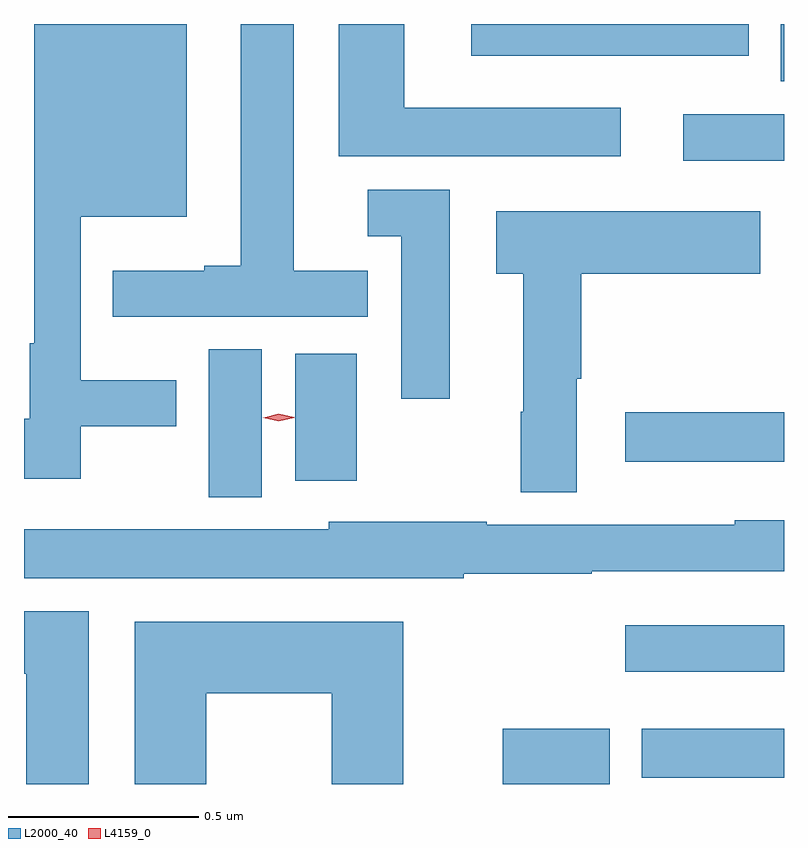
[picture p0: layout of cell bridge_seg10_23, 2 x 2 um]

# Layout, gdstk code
import gdstk
lib = gdstk.Library(unit=1e-6, precision=1e-09)
def R(c, l, rs):  # rectangles x0, y0, x1, y1
    for r in rs: c.add(gdstk.rectangle(r[:2], r[2:], *l))
def P(c, l, *ps):  # polygons
    for p in ps: c.add(gdstk.Polygon(p, *l))
L2000_40 = (2000, 40)
L4159_0 = (4159, 0)

bridge_seg10_23 = lib.new_cell('bridge_seg10_23')
R(bridge_seg10_23, L2000_40, [(1011.398,1280.988,1011.679,1281.133), (1011.764,1281.005,1012.138,1281.133), (1011.72,1281.284,1012.138,1281.406), (1010.624,1281.743,1010.764,1282.132), (1010.852,1281.786,1011.013,1282.12), (1011.72,1281.836,1012.138,1281.966), (1011.873,1282.628,1012.138,1282.75), (1012.13,1282.838,1012.138,1282.988), (1011.315,1282.904,1012.045,1282.988)])
P(bridge_seg10_23, L2000_40, [(1011.043,1282.339),(1010.848,1282.339),(1010.848,1282.988),(1010.708,1282.988),(1010.708,1282.352),(1010.612,1282.352),(1010.612,1282.339),(1010.372,1282.339),(1010.372,1282.217),(1011.043,1282.217)],
  [(1011.709,1282.768),(1011.139,1282.768),(1011.139,1282.988),(1010.966,1282.988),(1010.966,1282.64),(1011.709,1282.64)],
  [(1011.259,1282.552),(1011.042,1282.552),(1011.042,1282.43),(1011.131,1282.43),(1011.131,1282.002),(1011.259,1282.002)],
  [(1011.592,1282.054),(1011.605,1282.054),(1011.605,1282.331),(1012.075,1282.331),(1012.075,1282.495),(1011.381,1282.495),(1011.381,1282.331),(1011.452,1282.331),(1011.452,1281.968),(1011.445,1281.968),(1011.445,1281.756),(1011.592,1281.756)],
  [(1010.287,1282.481),(1010.566,1282.481),(1010.566,1282.988),(1010.165,1282.988),(1010.165,1282.148),(1010.153,1282.148),(1010.153,1281.949),(1010.138,1281.949),(1010.138,1281.791),(1010.287,1281.791),(1010.287,1281.929),(1010.539,1281.929),(1010.539,1282.051),(1010.287,1282.051)],
  [(1011.295,1281.541),(1011.632,1281.541),(1011.632,1281.548),(1012.138,1281.548),(1012.138,1281.682),(1012.008,1281.682),(1012.008,1281.67),(1011.356,1281.67),(1011.356,1281.678),(1010.94,1281.678),(1010.94,1281.658),(1010.138,1281.658),(1010.138,1281.53),(1011.295,1281.53)],
  [(1010.308,1281.442),(1010.138,1281.442),(1010.138,1281.278),(1010.144,1281.278),(1010.144,1280.988),(1010.308,1280.988)],
  [(1010.617,1281.227),(1010.948,1281.227),(1010.948,1280.988),(1011.136,1280.988),(1011.136,1281.415),(1010.429,1281.415),(1010.429,1280.988),(1010.617,1280.988)])
P(bridge_seg10_23, L4159_0, [(1010.808,1281.942),(1010.767,1281.952),(1010.767,1281.952),(1010.767,1281.952),(1010.808,1281.962),(1010.849,1281.953),(1010.849,1281.952),(1010.849,1281.952)])

lib.write_gds('bridge_seg10_23.gds')
